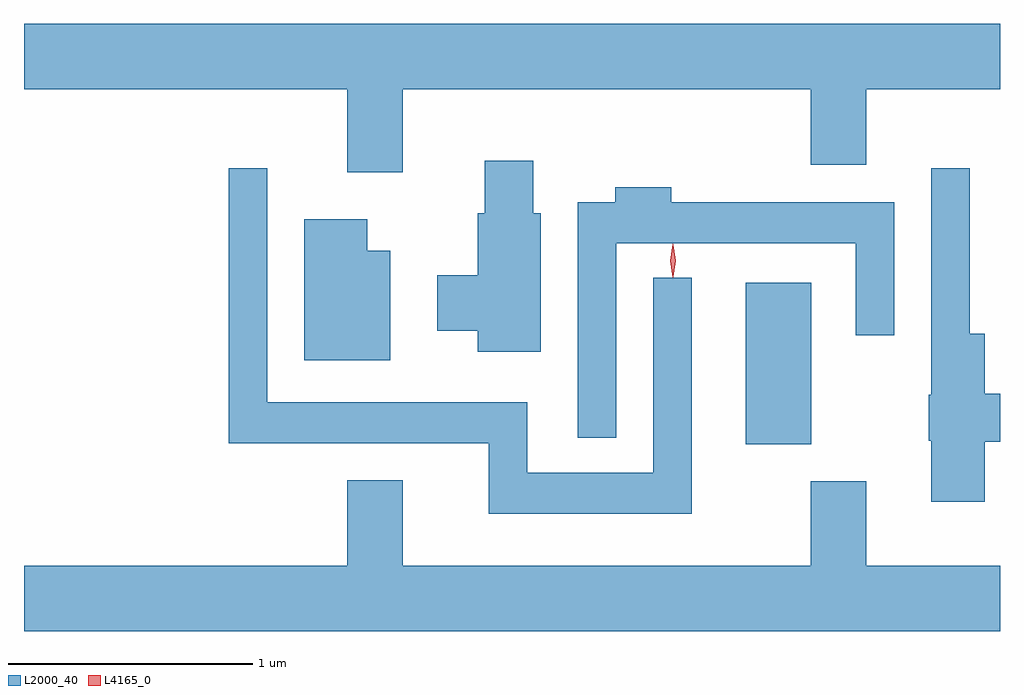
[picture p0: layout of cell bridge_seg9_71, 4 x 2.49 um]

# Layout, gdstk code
import gdstk
lib = gdstk.Library(unit=1e-6, precision=1e-09)
def R(c, l, rs):  # rectangles x0, y0, x1, y1
    for r in rs: c.add(gdstk.rectangle(r[:2], r[2:], *l))
def P(c, l, *ps):  # polygons
    for p in ps: c.add(gdstk.Polygon(p, *l))
L2000_40 = (2000, 40)
L4165_0 = (4165, 0)

bridge_seg9_71 = lib.new_cell('bridge_seg9_71')
R(bridge_seg9_71, L2000_40, [(1497.306,1945.961,1497.574,1946.624)])
P(bridge_seg9_71, L2000_40, [(1495.899,1947.416),(1497.571,1947.416),(1497.571,1947.106),(1497.799,1947.106),(1497.799,1947.416),(1498.347,1947.416),(1498.347,1947.684),(1494.347,1947.684),(1494.347,1947.416),(1495.671,1947.416),(1495.671,1947.076),(1495.899,1947.076)],
  [(1496.464,1946.909),(1496.434,1946.909),(1496.434,1947.124),(1496.236,1947.124),(1496.236,1946.909),(1496.206,1946.909),(1496.206,1946.654),(1496.041,1946.654),(1496.041,1946.426),(1496.206,1946.426),(1496.206,1946.341),(1496.464,1946.341)],
  [(1498.284,1945.971),(1498.347,1945.971),(1498.347,1946.169),(1498.284,1946.169),(1498.284,1946.414),(1498.224,1946.414),(1498.224,1947.093),(1498.066,1947.093),(1498.066,1946.165),(1498.056,1946.165),(1498.056,1945.975),(1498.066,1945.975),(1498.066,1945.726),(1498.284,1945.726)],
  [(1497.084,1946.643),(1496.926,1946.643),(1496.926,1945.844),(1496.409,1945.844),(1496.409,1946.134),(1495.344,1946.134),(1495.344,1947.093),(1495.186,1947.093),(1495.186,1945.966),(1496.251,1945.966),(1496.251,1945.676),(1497.084,1945.676)],
  [(1496.774,1946.786),(1497.756,1946.786),(1497.756,1946.408),(1497.914,1946.408),(1497.914,1946.954),(1496.999,1946.954),(1496.999,1947.014),(1496.771,1947.014),(1496.771,1946.954),(1496.616,1946.954),(1496.616,1945.988),(1496.774,1945.988)],
  [(1495.849,1946.754),(1495.754,1946.754),(1495.754,1946.884),(1495.496,1946.884),(1495.496,1946.306),(1495.849,1946.306)],
  [(1498.347,1945.464),(1497.799,1945.464),(1497.799,1945.809),(1497.571,1945.809),(1497.571,1945.464),(1495.899,1945.464),(1495.899,1945.814),(1495.671,1945.814),(1495.671,1945.464),(1494.347,1945.464),(1494.347,1945.196),(1498.347,1945.196)])
P(bridge_seg9_71, L4165_0, [(1497.006,1946.644),(1497.006,1946.645),(1496.996,1946.714),(1497.006,1946.782),(1497.006,1946.783),(1497.007,1946.782),(1497.016,1946.714),(1497.007,1946.645)],
  [(1497.007,1946.648),(1496.998,1946.714),(1497.007,1946.78),(1497.008,1946.781),(1497.008,1946.78),(1497.018,1946.714),(1497.008,1946.648),(1497.008,1946.648)])

lib.write_gds('bridge_seg9_71.gds')
